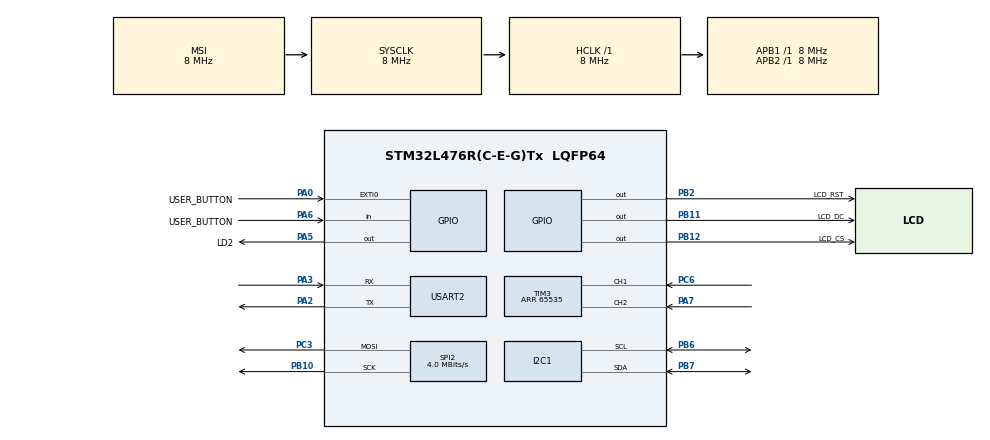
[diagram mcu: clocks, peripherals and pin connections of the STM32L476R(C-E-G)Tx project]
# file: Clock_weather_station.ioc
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Dma.Request0=SPI2_TX
Dma.SPI2_TX.0.Direction=DMA_MEMORY_TO_PERIPH
Dma.SPI2_TX.0.Instance=DMA1_Channel5
Dma.SPI2_TX.0.MemDataAlignment=DMA_MDATAALIGN_BYTE
Dma.SPI2_TX.0.MemInc=DMA_MINC_ENABLE
Dma.SPI2_TX.0.Mode=DMA_NORMAL
Dma.SPI2_TX.0.PeriphDataAlignment=DMA_PDATAALIGN_BYTE
Dma.SPI2_TX.0.PeriphInc=DMA_PINC_DISABLE
Dma.SPI2_TX.0.Priority=DMA_PRIORITY_LOW
I2C1.Timing=0x2000090E
IWDG.Prescaler=IWDG_PRESCALER_256
Mcu.Family=STM32L4
Mcu.Name=STM32L476R(C-E-G)Tx
Mcu.Package=LQFP64
NVIC.DMA1_Channel5_IRQn=true\:0\:0\:false\:false\:true\:false\:true\:true
NVIC.EXTI0_IRQn=true\:3\:0\:true\:false\:true\:true\:true\:true
NVIC.PriorityGroup=NVIC_PRIORITYGROUP_4
NVIC.TIM6_DAC_IRQn=true\:5\:0\:true\:false\:true\:true\:true\:true
NVIC.TIM7_IRQn=true\:4\:0\:true\:false\:true\:true\:true\:true
PA0.GPIO_Label=USER_BUTTON
PA0.GPIO_ModeDefaultEXTI=GPIO_MODE_IT_RISING
PA0.GPIO_PuPd=GPIO_NOPULL
PA0.Signal=GPXTI0
PA13\ (JTMS-SWDIO).Mode=Serial_Wire
PA13\ (JTMS-SWDIO).Signal=SYS_JTMS-SWDIO
PA14\ (JTCK-SWCLK).Mode=Serial_Wire
PA14\ (JTCK-SWCLK).Signal=SYS_JTCK-SWCLK
PA2.Mode=Asynchronous
PA2.Signal=USART2_TX
PA3.Mode=Asynchronous
PA3.Signal=USART2_RX
PA5.GPIO_Label=LD2
PA5.Signal=GPIO_Output
PA6.GPIO_Label=USER_BUTTON
PA6.Signal=GPIO_Input
PA7.Signal=S_TIM3_CH2
PB10.Mode=TX_Only_Simplex_Unidirect_Master
PB10.Signal=SPI2_SCK
PB11.GPIO_Label=LCD_DC
PB11.Signal=GPIO_Output
PB12.GPIO_Label=LCD_CS
PB12.Signal=GPIO_Output
PB2.GPIO_Label=LCD_RST
PB2.PinState=GPIO_PIN_SET
PB2.Signal=GPIO_Output
PB6.Mode=I2C
PB6.Signal=I2C1_SCL
PB7.Mode=I2C
PB7.Signal=I2C1_SDA
PC14-OSC32_IN\ (PC14).Mode=LSE-External-Oscillator
PC14-OSC32_IN\ (PC14).Signal=RCC_OSC32_IN
PC15-OSC32_OUT\ (PC15).Mode=LSE-External-Oscillator
PC15-OSC32_OUT\ (PC15).Signal=RCC_OSC32_OUT
PC3.Mode=TX_Only_Simplex_Unidirect_Master
PC3.Signal=SPI2_MOSI
PC6.Signal=S_TIM3_CH1
ProjectManager.HeapSize=0x200
ProjectManager.StackSize=0x2000
ProjectManager.TargetToolchain=STM32CubeIDE
RCC.ADCFreq_Value=32000000
RCC.AHBFreq_Value=8000000
RCC.APB1Freq_Value=8000000
RCC.APB1TimFreq_Value=8000000
RCC.APB2Freq_Value=8000000
RCC.APB2TimFreq_Value=8000000
RCC.CortexFreq_Value=8000000
RCC.HCLKFreq_Value=8000000
RCC.HSE_VALUE=8000000
RCC.HSI_VALUE=16000000
RCC.MSIClockRange=RCC_MSIRANGE_7
RCC.MSI_VALUE=8000000
RCC.PLLN=30
RCC.RTCClockSelection=RCC_RTCCLKSOURCE_LSE
RCC.SYSCLKFreq_VALUE=8000000
RCC.USBFreq_Value=32000000
RCC.VCOOutputFreq_Value=240000000
SH.S_TIM3_CH1.0=TIM3_CH1,Encoder_Interface
SH.S_TIM3_CH2.0=TIM3_CH2,Encoder_Interface
SPI2.BaudRatePrescaler=SPI_BAUDRATEPRESCALER_2
SPI2.CalculateBaudRate=4.0 MBits/s
SPI2.DataSize=SPI_DATASIZE_8BIT
SPI2.Direction=SPI_DIRECTION_2LINES
SPI2.Mode=SPI_MODE_MASTER
SPI2.NSSPMode=SPI_NSS_PULSE_DISABLE
SPI2.VirtualType=VM_MASTER
TIM3.CounterMode=TIM_COUNTERMODE_UP
TIM3.EncoderMode=TIM_ENCODERMODE_TI1
TIM3.IC1Filter=1
TIM3.IC1Prescaler=TIM_ICPSC_DIV1
TIM3.IC2Filter=15
TIM3.IC2Prescaler=TIM_ICPSC_DIV1
TIM3.Period=65535
TIM6.Period=999
TIM6.Prescaler=7999
TIM7.Prescaler=7999
USART2.VirtualMode-Asynchronous=VM_ASYNC
VP_IWDG_VS_IWDG.Mode=IWDG_Activate
VP_RTC_VS_RTC_Activate.Mode=RTC_Enabled
VP_TIM6_VS_ClockSourceINT.Mode=Enable_Timer
VP_TIM7_VS_ClockSourceINT.Mode=Enable_Timer
board=custom

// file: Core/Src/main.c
/* USER CODE BEGIN Header */
/**
  ******************************************************************************
  * @file           : main.c
  * @brief          : Main program body
  ******************************************************************************
  * @attention
  *
  * Copyright (c) 2023 STMicroelectronics.
  * All rights reserved.
  *
  * This software is licensed under terms that can be found in the LICENSE file
  * in the root directory of this software component.
  * If no LICENSE file comes with this software, it is provided AS-IS.
  *
  ******************************************************************************
  */
/* USER CODE END Header */
#include "main.h"
#include "dma.h"
#include "i2c.h"
#include "iwdg.h"
#include "rtc.h"
#include "spi.h"
#include "tim.h"
#include "usart.h"
#include "gpio.h"

/* USER CODE BEGIN Includes */
#include "stdio.h"
#include "lps25hb.h"
#include "hagl.h"
#include "font6x9.h"
#include "font10x20.h"
#include "rgb565.h"
#include "wchar.h"
#include "font9x18.h"

/* USER CODE END Includes */

void SystemClock_Config(void);

/* USER CODE BEGIN 0 */

//Add __WFI() -> sleep (wait for interrupt)
void HAL_Delay(uint32_t Delay)
{
  uint32_t tickstart = HAL_GetTick();
  uint32_t wait = Delay;

  /* Add a period to guaranty minimum wait */
  if (wait < HAL_MAX_DELAY)
  {
    wait += (uint32_t)uwTickFreq;
  }

  while ((HAL_GetTick() - tickstart) < wait)
  {
	  __WFI();
  }
}

int __io_putchar(int ch)
{
  if (ch == '\n') {
    __io_putchar('\r');
  }

  HAL_UART_Transmit(&huart2, (uint8_t*)&ch, 1, HAL_MAX_DELAY);

  return 1;
}

volatile uint8_t flag = 0;

void HAL_GPIO_EXTI_Callback(uint16_t GPIO_Pin)
{
  SystemClock_Config ();
  HAL_ResumeTick();
  if (GPIO_Pin == USER_BUTTON_Pin) {
	  static uint32_t last_interrupt_time = 0;
	  uint32_t current_interrupt_time = HAL_GetTick();
	  // button filter ( 100ms)
	  if ((current_interrupt_time - last_interrupt_time) > 300) {
		  last_interrupt_time = current_interrupt_time;
		  printf("Enter interrupt!\n");
		  HAL_Delay(100);
		  if(flag==0) {
			  flag=1;
			  printf("Set flag 1\n");
			  HAL_Delay(200);
		  }
		  else if(flag==1) {
			  flag=2;
			  printf("Set flag 2\n");
			  HAL_Delay(200);
		  }
		  else if (flag==2){
			  flag=0;
	  }
	}
  }
}

void read_and_save_correct_time_after_sleep()
{
	  RTC_TimeTypeDef RTC_Time1;
	  RTC_Time1.Hours = HAL_RTCEx_BKUPRead(&hrtc, RTC_BKP_DR1);
	  RTC_Time1.Minutes = HAL_RTCEx_BKUPRead(&hrtc, RTC_BKP_DR2);
	  RTC_Time1.Seconds = HAL_RTCEx_BKUPRead(&hrtc, RTC_BKP_DR3);

	  RTC_TimeTypeDef RTC_Time2;
	  RTC_DateTypeDef RTC_Date2;
	  HAL_RTC_GetTime(&hrtc, &RTC_Time2, RTC_FORMAT_BIN);
	  HAL_RTC_GetDate(&hrtc, &RTC_Date2, RTC_FORMAT_BIN);

	  /*uint8_t seconds_slept = ((RTC_Time2.Seconds - RTC_Time1.Seconds) +
	                           ((RTC_Time2.Minutes - RTC_Time1.Minutes) * 60) +
	                           ((RTC_Time2.Hours - RTC_Time1.Hours) * 3600));*/
	  uint8_t seconds_slept = RTC_Time2.Seconds - RTC_Time1.Seconds;
	  RTC_Time1.Seconds=RTC_Time1.Seconds+seconds_slept;
	  if(RTC_Time1.Seconds>60){
		  RTC_Time1.Seconds=RTC_Time1.Seconds-60;
		  RTC_Time1.Minutes=RTC_Time1.Minutes+1;
		  if(RTC_Time1.Minutes>60){
			  RTC_Time1.Minutes=RTC_Time1.Minutes-60;
			  RTC_Time1.Hours=RTC_Time1.Hours+1;
			  if(RTC_Time1.Hours>23) RTC_Time1.Hours=0;
		  }
	  }
	  // Set the saved time back to RTC
	  HAL_RTC_SetTime(&hrtc, &RTC_Time1, RTC_FORMAT_BIN);
}

void save_time_to_sleep()
{
	RTC_TimeTypeDef currentTime;
	RTC_DateTypeDef currentdate;
	HAL_RTC_GetTime(&hrtc, &currentTime, RTC_FORMAT_BIN);
	HAL_RTC_GetDate(&hrtc, &currentdate, RTC_FORMAT_BIN);
	HAL_RTCEx_BKUPWrite(&hrtc, RTC_BKP_DR1, currentTime.Hours);
	HAL_RTCEx_BKUPWrite(&hrtc, RTC_BKP_DR2, currentTime.Minutes);
	HAL_RTCEx_BKUPWrite(&hrtc, RTC_BKP_DR3, currentTime.Seconds);
}

void lps_temperature_pressure_measure()
{
	  printf("LPS measure init!\n");
	  printf("Searching...\n");
	  if (lps25hb_init() == HAL_OK) {
	    printf("OK: LPS25HB\n");
	    lps25hb_one_shot();
	    HAL_Delay(100);
	    printf("T = %.1f*C\n", lps25hb_read_temp()-2);
	    printf("p = %.1f hPa\n", lps25hb_read_pressure());

	    wchar_t buffer[20];
	    swprintf(buffer, 20, L"Temperatura: %.1f°C", lps25hb_read_temp()-2);
	    hagl_put_text(buffer, 20, 75, YELLOW, font6x9);
	    swprintf(buffer, 20, L"Cisnienie: %.0fhPa", lps25hb_read_pressure());
	    hagl_put_text(buffer, 20, 95, YELLOW, font6x9);
	    lcd_copy();

	    RTC_TimeTypeDef time;
	    RTC_DateTypeDef date;
		HAL_RTC_GetTime(&hrtc, &time, RTC_FORMAT_BIN);
		HAL_RTC_GetDate(&hrtc, &date, RTC_FORMAT_BIN);
		printf("Aktualny czas: %02d:%02d:%02d\n", time.Hours, time.Minutes, time.Seconds);
	  }
	  else {
	    printf("Error: LPS25HB not found\n");
	    Error_Handler();
	  }
}

void first_procedure_hour_change()
{
	  printf("Entering first procedure!\n");
	  int16_t prev_value=0;
	  uint8_t i=0;
	  RTC_TimeTypeDef time;
	  RTC_DateTypeDef date;
	  HAL_RTC_GetTime(&hrtc, &time, RTC_FORMAT_BIN);
	  HAL_RTC_GetDate(&hrtc, &date, RTC_FORMAT_BIN);
	  wchar_t buffer[20];
	  //draw rectangle at Hour
	  for (int i = 0; i < 2; i++) {
	    hagl_draw_rounded_rectangle(52+i, 30+i, 75-i, 55-i, 2-i, YELLOW);
	  }
	  swprintf(buffer, 20, L"%02d:%02d", time.Hours, time.Minutes);
	  hagl_put_text(buffer, 55, 35, YELLOW, font9x18);
	  lcd_copy();
	  while(flag==1){
		  int16_t value = __HAL_TIM_GET_COUNTER(&htim3);
		  if (value != prev_value) {
			  //printf("value = %d\n", value);
			  i++;
			  if(value==prev_value+1){
				  if(i==2)
				  {
					  HAL_IWDG_Refresh(&hiwdg);
					  time.Hours=time.Hours+1;
					  if(time.Hours==24) time.Hours=0;
					  HAL_RTC_SetTime(&hrtc, &time, RTC_FORMAT_BIN);
					  HAL_RTC_SetDate(&hrtc, &date, RTC_FORMAT_BIN);
					  HAL_RTC_GetTime(&hrtc, &time, RTC_FORMAT_BIN);
					  HAL_RTC_GetDate(&hrtc, &date, RTC_FORMAT_BIN);
					  printf("Hours: %d\n", time.Hours);
					  i=0;
					  swprintf(buffer, 20, L"%02d:%02d", time.Hours, time.Minutes);
					  hagl_put_text(buffer, 55, 35, YELLOW, font9x18);
					  lcd_copy();
				  }
			  }
			  if(value==prev_value-1){
				  if(i==2)
				  {
					  HAL_IWDG_Refresh(&hiwdg);
					  time.Hours=time.Hours-1;
					  if(time.Hours==255) time.Hours=23;
					  HAL_RTC_SetTime(&hrtc, &time, RTC_FORMAT_BIN);
					  printf("Hours: %d\n", time.Hours);
					  i=0;
					  swprintf(buffer, 20, L"%02d:%02d", time.Hours, time.Minutes);
					  hagl_put_text(buffer, 55, 35, YELLOW, font9x18);
					  lcd_copy();
				  }
			  }
			  prev_value = value;
		  }
	  }
	  for (int i = 0; i < 2; i++) {
	    hagl_draw_rounded_rectangle(52+i, 30+i, 75-i, 55-i, 2-i, BLACK);
	  }
}

void second_procedure_minutes_change()
{
	  printf("Entering second procedure!\n");
	  HAL_Delay(100);
	  int16_t prev_value=0;
	  uint8_t i=0;
	  RTC_TimeTypeDef time;
	  RTC_DateTypeDef date;
	  HAL_RTC_GetTime(&hrtc, &time, RTC_FORMAT_BIN);
	  HAL_RTC_GetDate(&hrtc, &date, RTC_FORMAT_BIN);
	  wchar_t buffer[20];
	  for (int i = 0; i < 2; i++) {
	    hagl_draw_rounded_rectangle(80+i, 30+i, 105-i, 55-i, 2-i, YELLOW);
	  }
	  swprintf(buffer, 20, L"%02d:%02d", time.Hours, time.Minutes);
	  hagl_put_text(buffer, 55, 35, YELLOW, font9x18);
	  lcd_copy();
	  while(flag==2){
		  int16_t value = __HAL_TIM_GET_COUNTER(&htim3);
		  if (value != prev_value) {
			  //printf("value = %d\n", value);
			  i++;
			  if(value==prev_value+1){
				  if(i==2)
				  {
					  HAL_IWDG_Refresh(&hiwdg);
					  time.Minutes=time.Minutes+1;
					  if(time.Minutes==60) time.Minutes=0;
					  HAL_RTC_SetTime(&hrtc, &time, RTC_FORMAT_BIN);
					  printf("Minutes: %d\n", time.Minutes);
					  i=0;
					  swprintf(buffer, 20, L"%02d:%02d", time.Hours, time.Minutes);
					  hagl_put_text(buffer, 55, 35, YELLOW, font9x18);
					  lcd_copy();
				  }
			  }
			  if(value==prev_value-1){
				  if(i==2)
				  {
					  HAL_IWDG_Refresh(&hiwdg);
					  time.Minutes=time.Minutes-1;
					  if(time.Minutes==255) time.Minutes=59;
					  HAL_RTC_SetTime(&hrtc, &time, RTC_FORMAT_BIN);
					  printf("Minutes: %d\n", time.Minutes);
					  i=0;
					  swprintf(buffer, 20, L"%02d:%02d", time.Hours, time.Minutes);
					  hagl_put_text(buffer, 55, 35, YELLOW, font9x18);
					  lcd_copy();
				  }
			  }
			  prev_value = value;
		  }
	  }
	  for (int i = 0; i < 2; i++) {
	    hagl_draw_rounded_rectangle(80+i, 30+i, 105-i, 55-i, 2-i, BLACK);
	  }
	  swprintf(buffer, 20, L"%02d:%02d", time.Hours, time.Minutes);
	  hagl_put_text(buffer, 55, 35, YELLOW, font9x18);
	  lcd_copy();

	for(int i=0;i<1;i++){
		RTC_TimeTypeDef time;
		RTC_DateTypeDef date;
	  HAL_RTC_GetTime(&hrtc, &time, RTC_FORMAT_BIN);
	  HAL_RTC_GetDate(&hrtc, &date, RTC_FORMAT_BIN);
	  printf("Aktualny czas: %02d:%02d:%02d\n", time.Hours, time.Minutes, time.Seconds);
	  HAL_Delay(100);
	}
}

void HAL_SPI_TxCpltCallback(SPI_HandleTypeDef *hspi) //When we get interrupt (If DMA finish send data to LCD)
{
	if (hspi == &hspi2)
	{
		lcd_transfer_done();
	}
}

void lcd_transfer_done(void)
{
	HAL_GPIO_WritePin(LCD_CS_GPIO_Port, LCD_CS_Pin, GPIO_PIN_SET);
}

bool lcd_is_busy(void)
{
	if (HAL_SPI_GetState(&hspi2) == HAL_SPI_STATE_BUSY)
		return true;
	else
		return false;
}

volatile uint8_t flag_lps=0;
volatile uint8_t flag_check_time=0;

void check_time()
{
	  printf("Time check init!\n");
	  RTC_TimeTypeDef time;
	  RTC_DateTypeDef date;
	  HAL_RTC_GetTime(&hrtc, &time, RTC_FORMAT_BIN);
	  HAL_RTC_GetDate(&hrtc, &date, RTC_FORMAT_BIN);
	  wchar_t buffer[20];
	  swprintf(buffer, 20, L"%02d:%02d", time.Hours, time.Minutes);
	  hagl_put_text(buffer, 55, 35, YELLOW, font9x18);
	  lcd_copy();
}

void HAL_TIM_PeriodElapsedCallback(TIM_HandleTypeDef *htim)
{
  if (htim == &htim6) {
	  flag_check_time=1;
  }
  if (htim == &htim7) {
	  flag_lps=1;
  }
}

/* USER CODE END 0 */

int main(void)
{

  /* MCU Configuration--------------------------------------------------------*/

  /* Reset of all peripherals, Initializes the Flash interface and the Systick. */
  HAL_Init();

  /* Configure the system clock */
  SystemClock_Config();

  /* Initialize all configured peripherals */
  MX_GPIO_Init();
  MX_DMA_Init();
  MX_RTC_Init();
  MX_USART2_UART_Init();
  MX_I2C1_Init();
  MX_SPI2_Init();
  MX_TIM3_Init();
  MX_IWDG_Init();
  MX_TIM6_Init();
  MX_TIM7_Init();
  /* USER CODE BEGIN 2 */

  lcd_init();
  printf("LCD initialization!\n");
  for (int i = 0; i < 8; i++) {
    hagl_draw_rounded_rectangle(2+i, 2+i, 158-i, 126-i, 8-i, rgb565(0, 0, i*16));
  }

  RTC_TimeTypeDef time;
  RTC_DateTypeDef date;
  HAL_RTC_GetTime(&hrtc, &time, RTC_FORMAT_BIN);
  HAL_RTC_GetDate(&hrtc, &date, RTC_FORMAT_BIN);
  wchar_t buffer[20];
  swprintf(buffer, 20, L"%02d:%02d", time.Hours, time.Minutes);
  hagl_put_text(buffer, 55, 35, YELLOW, font9x18);

  lps_temperature_pressure_measure();

  HAL_TIM_Base_Start_IT(&htim6);
  HAL_TIM_Base_Start_IT(&htim7);
  /* USER CODE END 2 */

  /* Infinite loop */
  /* USER CODE BEGIN WHILE */
  while (1)
  {
	  HAL_IWDG_Refresh(&hiwdg);
	  /*SET HOURS*/
	  if(flag==1)
	  {
		  printf("First procedure!!\n");
		  HAL_TIM_Encoder_Start(&htim3, TIM_CHANNEL_ALL);
		  first_procedure_hour_change();
	  }
	  if(flag==2)
	  {
		  printf("Second procedure!\n");
		  second_procedure_minutes_change();
		  HAL_TIM_Encoder_Stop(&htim3, TIM_CHANNEL_ALL);
	  }

	  if(__HAL_TIM_GET_FLAG(&htim6, TIM_FLAG_UPDATE) != RESET) // Sprawdzenie flagi timera
	  {
		__HAL_TIM_CLEAR_FLAG(&htim6, TIM_FLAG_UPDATE); // Wyczyszczenie flagi timera
		check_time();
	  }
	  /*
	  if(flag_check_time==1)
	  {
		  check_time();
		  flag_check_time=0;
	  }
	  */
	  if(flag_lps==1)
	  {
		  lps_temperature_pressure_measure();
		  flag_lps=0;
	  }

    /* USER CODE END WHILE */

  }
}

void SystemClock_Config(void)
{
  RCC_OscInitTypeDef RCC_OscInitStruct = {0};
  RCC_ClkInitTypeDef RCC_ClkInitStruct = {0};

  /** Configure the main internal regulator output voltage
  */
  if (HAL_PWREx_ControlVoltageScaling(PWR_REGULATOR_VOLTAGE_SCALE1) != HAL_OK)
  {
    Error_Handler();
  }

  /** Configure LSE Drive Capability
  */
  HAL_PWR_EnableBkUpAccess();
  __HAL_RCC_LSEDRIVE_CONFIG(RCC_LSEDRIVE_LOW);

  /** Initializes the RCC Oscillators according to the specified parameters
  * in the RCC_OscInitTypeDef structure.
  */
  RCC_OscInitStruct.OscillatorType = RCC_OSCILLATORTYPE_LSI|RCC_OSCILLATORTYPE_LSE
                              |RCC_OSCILLATORTYPE_MSI;
  RCC_OscInitStruct.LSEState = RCC_LSE_ON;
  RCC_OscInitStruct.LSIState = RCC_LSI_ON;
  RCC_OscInitStruct.MSIState = RCC_MSI_ON;
  RCC_OscInitStruct.MSICalibrationValue = 0;
  RCC_OscInitStruct.MSIClockRange = RCC_MSIRANGE_7;
  RCC_OscInitStruct.PLL.PLLState = RCC_PLL_NONE;
  if (HAL_RCC_OscConfig(&RCC_OscInitStruct) != HAL_OK)
  {
    Error_Handler();
  }

  /** Initializes the CPU, AHB and APB buses clocks
  */
  RCC_ClkInitStruct.ClockType = RCC_CLOCKTYPE_HCLK|RCC_CLOCKTYPE_SYSCLK
                              |RCC_CLOCKTYPE_PCLK1|RCC_CLOCKTYPE_PCLK2;
  RCC_ClkInitStruct.SYSCLKSource = RCC_SYSCLKSOURCE_MSI;
  RCC_ClkInitStruct.AHBCLKDivider = RCC_SYSCLK_DIV1;
  RCC_ClkInitStruct.APB1CLKDivider = RCC_HCLK_DIV1;
  RCC_ClkInitStruct.APB2CLKDivider = RCC_HCLK_DIV1;

  if (HAL_RCC_ClockConfig(&RCC_ClkInitStruct, FLASH_LATENCY_0) != HAL_OK)
  {
    Error_Handler();
  }

  /** Enable MSI Auto calibration
  */
  HAL_RCCEx_EnableMSIPLLMode();
}

void Error_Handler(void)
{
  __disable_irq();
  while (1)
  {
  }
}
